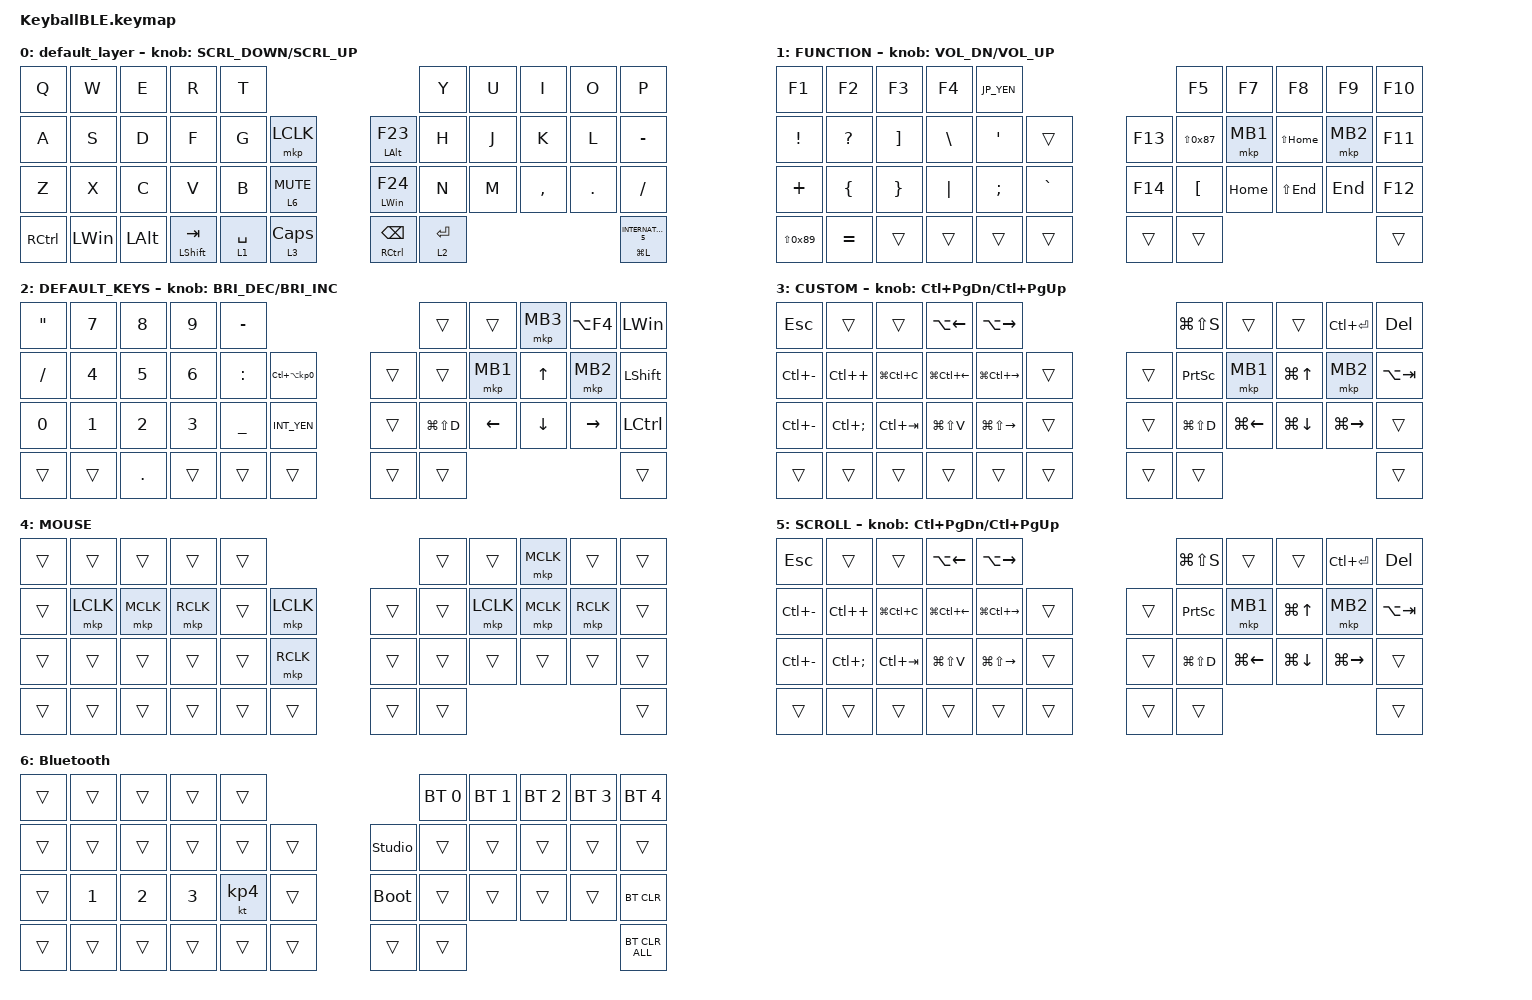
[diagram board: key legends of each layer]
#define ZMK_POINTING_DEFAULT_SCRL_VAL 120    // default: 10

#include <behaviors.dtsi>
#include <dt-bindings/zmk/bt.h>
#include <dt-bindings/zmk/keys.h>
#include <dt-bindings/zmk/pointing.h>

#define MOUSE 4
#define SCROLL 5
#define NUM 6

// OS設定を日本語キーボードのまま使用するための変換定義

#define JP_DQUOTE       AT                // "
#define JP_AMPERSAND    CARET             // &
#define JP_QUOTE        AMPERSAND         // '
#define JP_EQUAL        UNDER             // =
#define JP_CARET        EQUAL             // ^
#define JP_YEN          0x89              // ¥
#define JP_PLUS         COLON             // +
#define JP_TILDE        PLUS              // ~
#define JP_PIPE         LS(0x89)          // |
#define JP_AT           LEFT_BRACKET      // @
#define JP_COLON        SINGLE_QUOTE      // :
#define JP_ASTERISK     DOUBLE_QUOTES     // *
#define JP_BACKQUOTE    LEFT_BRACE        // `
#define JP_UNDERSCORE   LS(0x87)          // _
#define JP_LBRACKET     RIGHT_BRACKET     // [
#define JP_RBRACKET     BACKSLASH         // ]
#define JP_LPAREN       ASTERISK          // (
#define JP_RPAREN       LEFT_PARENTHESIS  // )
#define JP_LBRACE       RIGHT_BRACE       // {
#define JP_RBRACE       PIPE              // }
#define JP_KANA         LANGUAGE_1        // かな
#define JP_EISU         LANGUAGE_2        // 英数
#define JP_HANZEN       GRAVE             // 半角/全角

&mt {
    flavor = "balanced";
    quick-tap-ms = <0>;
};

/ {
    combos {
        compatible = "zmk,combos";

        double_quotation {
            bindings = <&kp DOUBLE_QUOTES>;
            key-positions = <20 21>;
        };

        scroll {
            bindings = <&lt 3 LEFT_SHIFT>;
            key-positions = <18 20>;
        };
    };

    macros {
        to_layer_0: to_layer_0 {
            compatible = "zmk,behavior-macro-one-param";
            #binding-cells = <1>;
            bindings = <&to 0 &macro_param_1to1 &kp MACRO_PLACEHOLDER>;
            label = "TO_LAYER_0";
        };
    };

    behaviors {
        lt_to_layer_0: lt_to_layer_0 {
            compatible = "zmk,behavior-hold-tap";
            label = "LAYER_TAP_TO_0";
            bindings = <&mo>, <&to_layer_0>;

            #binding-cells = <2>;
            tapping-term-ms = <200>;
        };

        ROTATE: ROTATE {
            compatible = "zmk,behavior-sensor-rotate-var";
            label = "ROTATE";
            #sensor-binding-cells = <2>;
            bindings = <&msc>, <&msc>;

            tap-ms = <20>;
        };
    };

    keymap {
        compatible = "zmk,keymap";

        default_layer {
            bindings = <
&kp Q      &kp W         &kp E         &kp R               &kp T                                                            &kp Y        &kp U  &kp I      &kp O    &kp P
&kp A      &kp S         &kp D         &kp F               &kp G        &mkp LCLK                      &mt LEFT_ALT F23     &kp H        &kp J  &kp K      &kp L    &kp MINUS
&kp Z      &kp X         &kp C         &kp V               &kp B        &lt 6 K_MUTE                   &mt LEFT_WIN F24     &kp N        &kp M  &kp COMMA  &kp DOT  &kp SLASH
&kp RCTRL  &kp LEFT_WIN  &kp LEFT_ALT  &mt LEFT_SHIFT TAB  &lt 1 SPACE  &lt_to_layer_0 3 CAPSLOCK      &mt RCTRL BACKSPACE  &lt 2 ENTER                             &mt LG(L) INTERNATIONAL_5
            >;

            sensor-bindings = <&ROTATE SCRL_DOWN SCRL_UP>;
        };

        FUNCTION {
            bindings = <
&kp F1           &kp F2            &kp F3           &kp F4           &kp JP_YEN                                 &kp F5             &kp F7    &kp F8        &kp F9    &kp F10
&kp EXCLAMATION  &kp QUESTION      &kp JP_LBRACKET  &kp JP_RBRACKET  &kp JP_COLON   &trans             &kp F13  &kp JP_UNDERSCORE  &mkp MB1  &kp LS(HOME)  &mkp MB2  &kp F11
&kp JP_TILDE     &kp JP_BACKQUOTE  &kp JP_LBRACE    &kp JP_RBRACE    &kp SEMICOLON  &kp JP_HANZEN      &kp F14  &kp JP_AT          &kp HOME  &kp LS(END)   &kp END   &kp F12
&kp JP_PIPE      &kp JP_CARET      &trans           &trans           &trans         &trans             &trans   &trans                                               &trans
            >;

            sensor-bindings = <&inc_dec_kp C_VOL_DN C_VOL_UP>;
        };

        DEFAULT_KEYS {
            bindings = <
&kp JP_ASTERISK  &kp N7        &kp N8        &kp N9        &kp MINUS                                          &trans         &trans          &mkp MB3        &kp LA(F4)       &kp LEFT_WIN
&kp SLASH        &kp NUMBER_4  &kp N5        &kp NUMBER_6  &kp JP_PLUS   &kp LC(LA(KP_NUMBER_0))      &trans  &trans         &mkp MB1        &kp UP_ARROW    &mkp MB2         &kp LEFT_SHIFT
&kp NUMBER_0     &kp NUMBER_1  &kp NUMBER_2  &kp NUMBER_3  &kp JP_EQUAL  &kp INT_YEN                  &trans  &kp LG(LS(D))  &kp LEFT_ARROW  &kp DOWN_ARROW  &kp RIGHT_ARROW  &kp LCTRL
&trans           &trans        &kp PERIOD    &trans        &trans        &trans                       &trans  &trans                                                          &trans
            >;

            sensor-bindings = <&inc_dec_kp C_BRI_DEC C_BRI_INC>;
        };

        CUSTOM {
            bindings = <
&kp ESCAPE     &trans             &trans         &kp LA(LEFT_ARROW)      &kp LA(RIGHT_ARROW)                          &kp LG(LS(S))    &trans              &trans              &kp LC(ENTER)        &kp DELETE
&kp LC(MINUS)  &kp LC(PLUS)       &kp LG(LC(C))  &kp LG(LC(LEFT_ARROW))  &kp LG(LC(RIGHT_ARROW))  &trans      &trans  &kp PRINTSCREEN  &mkp MB1            &kp LG(UP_ARROW)    &mkp MB2             &kp LA(TAB)
&kp LC(MINUS)  &kp LC(SEMICOLON)  &kp LC(TAB)    &kp LG(LS(V))           &kp LG(LS(RIGHT_ARROW))  &trans      &trans  &kp LG(LS(D))    &kp LG(LEFT_ARROW)  &kp LG(DOWN_ARROW)  &kp LG(RIGHT_ARROW)  &trans
&trans         &trans             &trans         &trans                  &trans                   &trans      &trans  &trans                                                                        &trans
            >;

            sensor-bindings = <&inc_dec_kp LC(PAGE_DOWN) LC(PAGE_UP)>;
        };

        MOUSE {
            bindings = <
&trans  &trans     &trans     &trans     &trans                         &trans  &trans     &mkp MCLK  &trans     &trans
&trans  &mkp LCLK  &mkp MCLK  &mkp RCLK  &trans  &mkp LCLK      &trans  &trans  &mkp LCLK  &mkp MCLK  &mkp RCLK  &trans
&trans  &trans     &trans     &trans     &trans  &mkp RCLK      &trans  &trans  &trans     &trans     &trans     &trans
&trans  &trans     &trans     &trans     &trans  &trans         &trans  &trans                                   &trans
            >;
        };

        SCROLL {
            bindings = <
&kp ESCAPE     &trans             &trans         &kp LA(LEFT_ARROW)      &kp LA(RIGHT_ARROW)                          &kp LG(LS(S))    &trans              &trans              &kp LC(ENTER)        &kp DEL
&kp LC(MINUS)  &kp LC(PLUS)       &kp LG(LC(C))  &kp LG(LC(LEFT_ARROW))  &kp LG(LC(RIGHT_ARROW))  &trans      &trans  &kp PRINTSCREEN  &mkp MB1            &kp LG(UP_ARROW)    &mkp MB2             &kp LA(TAB)
&kp LC(MINUS)  &kp LC(SEMICOLON)  &kp LC(TAB)    &kp LG(LS(V))           &kp LG(LS(RIGHT_ARROW))  &trans      &trans  &kp LG(LS(D))    &kp LG(LEFT_ARROW)  &kp LG(DOWN_ARROW)  &kp LG(RIGHT_ARROW)  &trans
&trans         &trans             &trans         &trans                  &trans                   &trans      &trans  &trans                                                                        &trans
            >;

            sensor-bindings = <&inc_dec_kp LC(PAGE_DOWN) LC(PAGE_UP)>;
        };

        Bluetooth {
            bindings = <
&trans  &trans        &trans        &trans        &trans                                 &bt BT_SEL 0  &bt BT_SEL 1  &bt BT_SEL 2  &bt BT_SEL 3  &bt BT_SEL 4
&trans  &trans        &trans        &trans        &trans     &trans      &studio_unlock  &trans        &trans        &trans        &trans        &trans
&trans  &kp NUMBER_1  &kp NUMBER_2  &kp NUMBER_3  &kt KP_N4  &trans      &bootloader     &trans        &trans        &trans        &trans        &bt BT_CLR
&trans  &trans        &trans        &trans        &trans     &trans      &trans          &trans                                                  &bt BT_CLR_ALL
            >;
        };
    };
};
